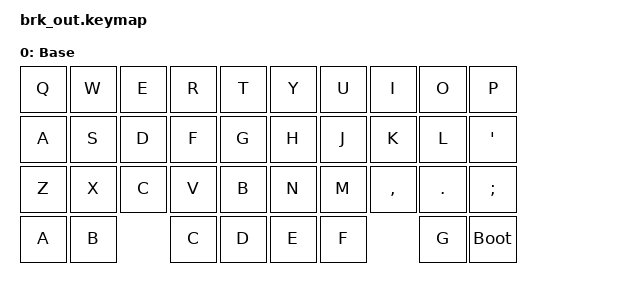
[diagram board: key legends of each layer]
/*
 * Copyright (c) 2022 weteor
 *
 * SPDX-License-Identifier: MIT
 */

#include <behaviors.dtsi>
#include <dt-bindings/zmk/keys.h>
#include <dt-bindings/zmk/outputs.h>

#define BASE 0

/ {

    keymap {
        compatible = "zmk,keymap";

        default_layer {
            label = " Base";
            bindings = <
                &kp Q       &kp W       &kp E       &kp R       &kp T          &kp Y       &kp U       &kp I       &kp O       &kp P
                &kp A       &kp S       &kp D       &kp F       &kp G          &kp H       &kp J       &kp K       &kp L       &kp QUOT
                &kp Z       &kp X       &kp C       &kp V       &kp B          &kp N       &kp M       &kp COMMA   &kp DOT     &kp SEMI
                &kp A       &kp B                   &kp C       &kp D          &kp E       &kp F                   &kp G       &bootloader
            >;
        };
    };
};


